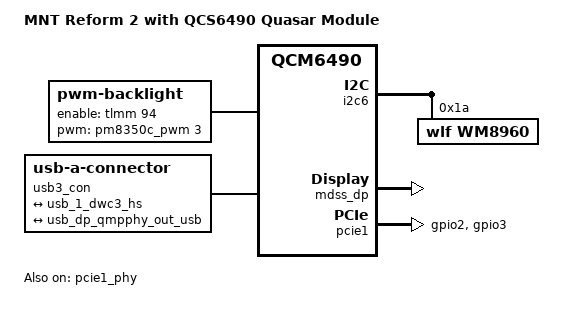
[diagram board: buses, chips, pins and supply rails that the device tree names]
// SPDX-License-Identifier: BSD-3-Clause
/*
 * Copyright (c) 2026, Linaro Ltd.
 * Copyright (c) 2026, MNT Research GmbH
 */

#include "qcs6490-mnt-quasar.dtsi"

#include <dt-bindings/gpio/gpio.h>
#include <dt-bindings/interrupt-controller/irq.h>

/ {
	model = "MNT Reform 2 with QCS6490 Quasar Module";
	compatible = "mntre,reform2", "mntre,quasar-qcs6490", "qcom,qcm6490";
	chassis-type = "laptop";

	backlight: backlight {
		compatible = "pwm-backlight";
		pwms = <&pm8350c_pwm 3 50000 0>;
		enable-gpios = <&tlmm 94 GPIO_ACTIVE_HIGH>;
		brightness-levels = <0 1000>;
		default-brightness-level = <50>;
		num-interpolated-steps = <100>;
		pinctrl-0 = <&backlight_enable>;
		pinctrl-names = "default";
		status = "okay";
	};

	usb3_con: usb3_con {
		compatible = "usb-a-connector";

		ports {
			#address-cells = <1>;
			#size-cells = <0>;

			port@0 {
				reg = <0>;

				usb3_con_hs_in: endpoint {
					remote-endpoint = <&usb_1_dwc3_hs>;
				};
			};

			port@1 {
				reg = <1>;

				usb3_con_ss_in: endpoint {
					remote-endpoint = <&usb_dp_qmpphy_out_usb>;
				};
			};
		};
	};
};

&dp_hot_plug_det {
	bias-disable;
};

&i2c6 {
	wm8960: codec@1a {
		compatible = "wlf,wm8960";
		reg = <0x1a>;
		#sound-dai-cells = <0>;
	};
};

&mdss_dp {
	status = "okay";

	aux-bus {
		panel: panel {
			compatible = "innolux,n125hce-gn1";
			// compatible = "edp-panel";
			power-supply = <&main_3v3>;
			backlight = <&backlight>;
			// FIXME: not wired up, fixed in V2 PCB
			// hpd-gpios = <&tlmm 47 GPIO_ACTIVE_HIGH>;
			no-hpd;

			status = "okay";

			port {
				panel_dp_in: endpoint {
					remote-endpoint = <&usb_dp_qmpphy_out_dp>;
				};
			};
		};
	};
};

&mdss_dp_out {
	data-lanes = <0 1>;
	link-frequencies = /bits/ 64 <1620000000 2700000000 5400000000>;
	remote-endpoint = <&usb_dp_qmpphy_dp_in>;
	pinctrl-names = "default";
	pinctrl-0 = <&dp_hot_plug_det>;
	status = "okay";
};

&pcie1 {
	perst-gpios = <&tlmm 2 GPIO_ACTIVE_LOW>;

	pinctrl-0 = <&pcie1_reset_n>, <&pcie1_wake_n>;
	pinctrl-names = "default";

	status = "okay";
};

&pcie1_phy {
	vdda-phy-supply = <&vreg_l10c_0p88>;
	vdda-pll-supply = <&vreg_l6b_1p2>;

	status = "okay";
};

&sound {
	model = "QCS6490-MNT-Reform2";
};

&sound_primary_codec {
	sound-dai = <&wm8960>;
};

&tlmm {
	backlight_enable: backlight-enable-state {
		pins = "gpio94";
		function = "gpio";
		output-enable;
	};

	pcie1_reset_n: pcie1-reset-n-state {
		pins = "gpio2";
		function = "gpio";
		drive-strength = <16>;
		output-low;
		bias-disable;
	};

	pcie1_wake_n: pcie1-wake-n-state {
		pins = "gpio3";
		function = "gpio";
		drive-strength = <2>;
		bias-pull-up;
	};
};

&usb_1_dwc3_hs {
	remote-endpoint = <&usb3_con_hs_in>;
};

&usb_1_qmpphy {
	ports {
		port@0 {
			#address-cells = <1>;
			#size-cells = <0>;

			/delete-node/ endpoint;

			usb_dp_qmpphy_out_dp: endpoint@0 {
				reg = <0>;

				data-lanes = <3 2>;
				remote-endpoint = <&panel_dp_in>;
				//remote-endpoint = <&dp0_connector_in>;
			};

			usb_dp_qmpphy_out_usb: endpoint@1 {
				reg = <1>;

				data-lanes = <1 0>;
				remote-endpoint = <&usb3_con_ss_in>;
			};
		};

		/*port@2 {
			// FIXME
			// mdss_dp connection
			status = "disabled";
		};*/
	};
};


